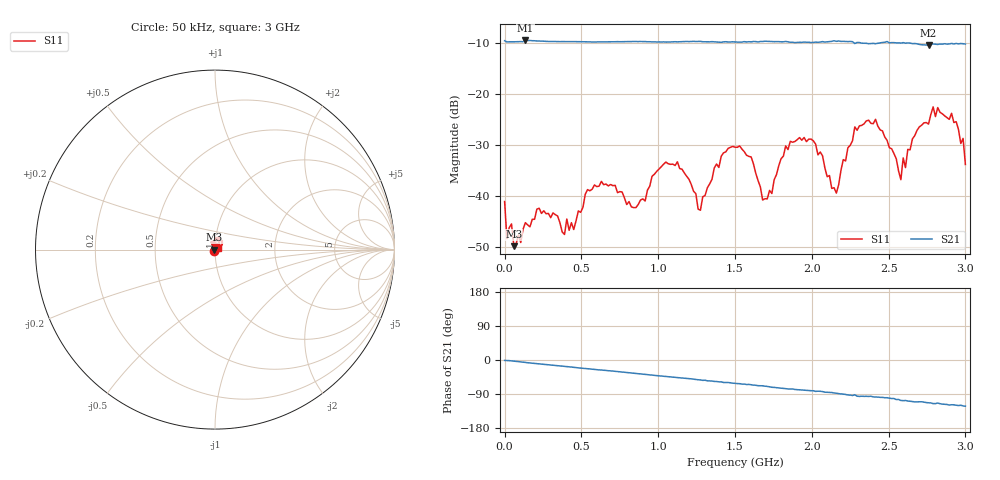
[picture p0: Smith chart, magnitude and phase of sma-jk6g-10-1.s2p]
!File created by NanoVNA-F V2
# Hz S RI R 50
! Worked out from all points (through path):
!   201 points, 50 kHz to 3 GHz, reference 50 ohm
!   highest |S21| = -9.47 dB at 135 MHz (marker M1); lowest = -10.4 dB at 2.76 GHz (marker M2)
!   group delay of S21, straight-line fit = 112 ps
!   lowest |S11| = -49.9 dB at 60.05 MHz (marker M3), VSWR 1.01, Z = 49.7 + j0.0169 ohm
!   |S11| at or under -10 dB: start of sweep to end of sweep
!   S12 and S22 are empty: the file has one direction only
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50000  -0.0056 -0.0068  0.3337 -0.00624  0 0  0 0
1.504975e7  -0.00371 -0.000873  0.3249 -0.00745  0 0  0 0
6.0049e7  -0.0032 0.00017  0.3254 -0.0167  0 0  0 0
1.350478e8  -0.00498 0.00223  0.3338 -0.0376  0 0  0 0
3.900435e8  -0.0012 0.00401  0.3133 -0.0937  0 0  0 0
5.100415e8  -0.00597 0.00489  0.3027 -0.1216  0 0  0 0
6.300395e8  -0.00532 0.0128  0.2915 -0.1443  0 0  0 0
8.550358e8  -0.00163 0.0075  0.2663 -0.1914  0 0  0 0
1.005033e9  -0.00674 0.017  0.2425 -0.2165  0 0  0 0
1.125031e9  0.00461 0.0211  0.2261 -0.2343  0 0  0 0
1.275029e9  0.000875 0.00718  0.2 -0.2613  0 0  0 0
1.500025e9  -0.000422 0.0301  0.1547 -0.2853  0 0  0 0
1.680022e9  0.00359 0.00838  0.1223 -0.3041  0 0  0 0
1.83002e9  -0.0133 0.0279  0.0809 -0.3185  0 0  0 0
2.010016e9  0.0147 0.0315  0.0498 -0.3173  0 0  0 0
2.160014e9  -0.00377 0.00998  0.0132 -0.3291  0 0  0 0
2.280012e9  -0.0234 0.0415  -0.00941 -0.3132  0 0  0 0
2.505008e9  0.0207 0.0213  -0.0598 -0.3125  0 0  0 0
2.580007e9  0.00477 0.0136  -0.0918 -0.3029  0 0  0 0
2.760004e9  -0.00388 0.0506  -0.1173 -0.2771  0 0  0 0
2.910002e9  0.0406 0.0503  -0.1478 -0.2773  0 0  0 0
3e9  0.0181 0.0093  -0.1639 -0.2631  0 0  0 0
